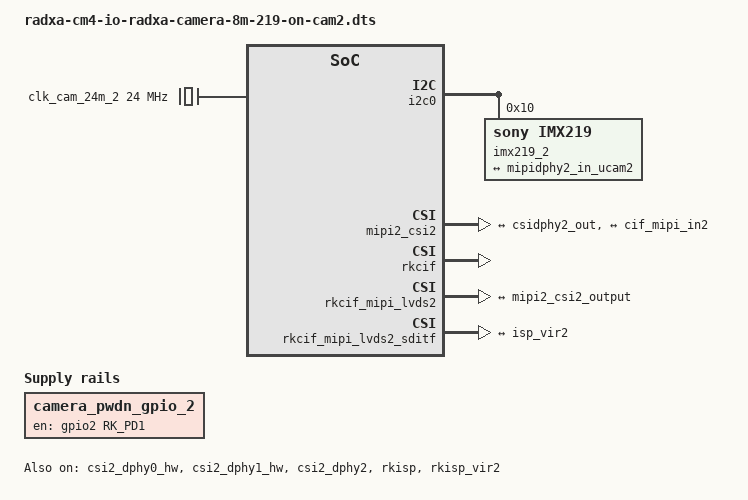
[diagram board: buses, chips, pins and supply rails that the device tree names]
/dts-v1/;
/plugin/;

#include <dt-bindings/gpio/gpio.h>
#include <dt-bindings/pinctrl/rockchip.h>

/ {
	metadata {
		title ="Enable Radxa Camera 8M 219 on CAM2";
		compatible = "radxa,cm4-io";
		category = "camera";
		exclusive = "GPIO2_D1", "csi2_dphy2", "i2c0";
		description = "Enable Radxa Camera 8M 219 on CAM2.";
	};
};

&{/} {
	camera_pwdn_gpio_2: camera-pwdn-gpio-2 {
		compatible = "regulator-fixed";
		regulator-name = "camera_pwdn_gpio_2";
		regulator-always-on;
		regulator-boot-on;
		enable-active-high;
		gpio = <&gpio2 RK_PD1 GPIO_ACTIVE_HIGH>;
		pinctrl-names = "default";
		pinctrl-0 = <&cam_pwdn_gpio_2>;
	};

	clk_cam_24m_2: external-camera-clock-24m-2 {
		compatible = "fixed-clock";
		clock-frequency = <24000000>;
		clock-output-names = "clk_cam_24m_2";
		#clock-cells = <0>;
	};
};

&i2c0 {
	status = "okay";
	pinctrl-names = "default";
	pinctrl-0 = <&i2c0m1_xfer>;
	#address-cells = <1>;
	#size-cells = <0>;


	imx219_2: imx219-2@10 {
		status = "okay";
		compatible = "sony,imx219";
		reg = <0x10>;
		clocks = <&clk_cam_24m_2>;
		clock-names = "xvclk";
		rockchip,camera-module-index = <1>;
		rockchip,camera-module-facing = "back";
		rockchip,camera-module-name = "RADXA-CAMERA-8M";
		rockchip,camera-module-lens-name = "default";

		port {
			imx219_out2: endpoint {
				remote-endpoint = <&mipidphy2_in_ucam2>;
				data-lanes = <1 2>;
			};
		};
	};
};

&csi2_dphy0_hw {
	status = "okay";
};

&csi2_dphy1_hw {
	status = "okay";
};

&csi2_dphy2 {
	status = "okay";

	ports {
		#address-cells = <1>;
		#size-cells = <0>;

		port@0 {
			reg = <0>;
			#address-cells = <1>;
			#size-cells = <0>;

			mipidphy2_in_ucam2: endpoint@2 {
				reg = <2>;
				remote-endpoint = <&imx219_out2>;
				data-lanes = <1 2>;
			};
		};

		port@1 {
			reg = <1>;
			#address-cells = <1>;
			#size-cells = <0>;

			csidphy2_out: endpoint@0 {
				reg = <0>;
				remote-endpoint = <&mipi2_csi2_input>;
			};
		};
	};
};

&mipi2_csi2 {
	status = "okay";

	ports {
		#address-cells = <1>;
		#size-cells = <0>;

		port@0 {
			reg = <0>;
			#address-cells = <1>;
			#size-cells = <0>;

			mipi2_csi2_input: endpoint@1 {
				reg = <1>;
				remote-endpoint = <&csidphy2_out>;
			};
		};

		port@1 {
			reg = <1>;
			#address-cells = <1>;
			#size-cells = <0>;

			mipi2_csi2_output: endpoint@0 {
				reg = <0>;
				remote-endpoint = <&cif_mipi_in2>;
			};
		};
	};
};

&rkcif {
	status = "okay";
};

&rkcif_mmu {
	status = "okay";
};

&rkcif_mipi_lvds2 {
	status = "okay";

	port {
		cif_mipi_in2: endpoint {
		    remote-endpoint = <&mipi2_csi2_output>;
		};
	};
};

&rkcif_mipi_lvds2_sditf {
	status = "okay";

	port {
		mipi_lvds2_sditf: endpoint {
			remote-endpoint = <&isp_vir2>;
		};
	};
};

&rkisp_mmu {
	status = "okay";
};

&rkisp {
	status = "okay";
};

&rkisp_vir2 {
	status = "okay";

	port {
		#address-cells = <1>;
		#size-cells = <0>;

		isp_vir2: endpoint@0 {
			reg = <0>;
			remote-endpoint = <&mipi_lvds2_sditf>;
		};
	};
};

// &rkisp_vir0_sditf {
// 	status = "okay";
// };

// &rkvpss {
// 	status = "okay";
// };

// &rkvpss_mmu {
// 	status = "okay";
// };

// &rkvpss_vir0 {
// 	status = "okay";
// };

&pinctrl {
	camera {
		cam_pwdn_gpio_2: cam-pwdn-gpio-2 {
			rockchip,pins = <2 RK_PD1 RK_FUNC_GPIO &pcfg_pull_up>;
		};
	};
};
